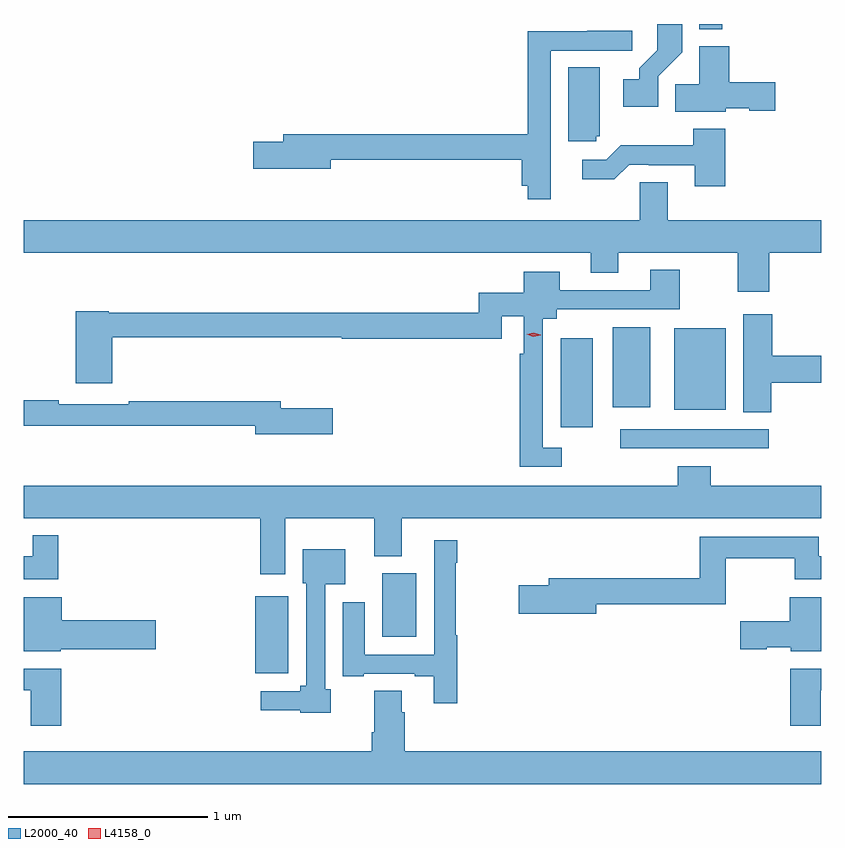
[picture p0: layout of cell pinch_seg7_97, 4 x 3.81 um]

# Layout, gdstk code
import gdstk
lib = gdstk.Library(unit=1e-6, precision=1e-09)
def R(c, l, rs):  # rectangles x0, y0, x1, y1
    for r in rs: c.add(gdstk.rectangle(r[:2], r[2:], *l))
def P(c, l, *ps):  # polygons
    for p in ps: c.add(gdstk.Polygon(p, *l))
L2000_40 = (2000, 40)
L4158_0 = (4158, 0)

pinch_seg7_97 = lib.new_cell('pinch_seg7_97')
R(pinch_seg7_97, L2000_40, [(940.79,1015.823,940.957,1016.209), (941.429,1016.006,941.599,1016.326), (942.621,1016.952,943.366,1017.048), (942.323,1017.057,942.484,1017.505), (942.893,1017.146,943.15,1017.553), (942.584,1017.158,942.772,1017.559), (943.017,1019.054,943.133,1019.08)])
P(pinch_seg7_97, L2000_40, [(942.813,1018.819),(942.932,1018.938),(942.932,1019.08),(942.807,1019.08),(942.807,1018.949),(942.716,1018.859),(942.716,1018.804),(942.636,1018.804),(942.636,1018.664),(942.813,1018.664)],
  [(942.273,1018.947),(942.682,1018.947),(942.682,1019.046),(942.457,1019.046),(942.457,1019.043),(942.157,1019.043),(942.157,1018.526),(940.931,1018.526),(940.931,1018.49),(940.782,1018.49),(940.782,1018.355),(941.17,1018.355),(941.17,1018.398),(942.128,1018.398),(942.128,1018.268),(942.157,1018.268),(942.157,1018.2),(942.273,1018.2)],
  [(943.152,1018.658),(943.269,1018.658),(943.269,1018.646),(943.399,1018.646),(943.399,1018.788),(943.169,1018.788),(943.169,1018.969),(943.019,1018.969),(943.019,1018.778),(942.898,1018.778),(942.898,1018.64),(943.152,1018.64)],
  [(942.501,1018.518),(942.52,1018.518),(942.52,1018.862),(942.362,1018.862),(942.362,1018.491),(942.501,1018.491)],
  [(943.148,1018.555),(942.988,1018.555),(942.988,1018.471),(942.625,1018.471),(942.552,1018.398),(942.432,1018.398),(942.432,1018.301),(942.593,1018.301),(942.666,1018.374),(942.766,1018.374),(942.766,1018.371),(942.995,1018.371),(942.995,1018.266),(943.148,1018.266)],
  [(943.37,1017.932),(943.63,1017.932),(943.63,1018.096),(942.859,1018.096),(942.859,1018.286),(942.72,1018.286),(942.72,1018.096),(939.63,1018.096),(939.63,1017.932),(942.473,1017.932),(942.473,1017.833),(942.613,1017.833),(942.613,1017.932),(943.21,1017.932),(943.21,1017.738),(943.37,1017.738)],
  [(942.328,1016.955),(942.234,1016.955),(942.234,1017.602),(942.304,1017.602),(942.304,1017.648),(942.921,1017.648),(942.921,1017.847),(942.773,1017.847),(942.773,1017.744),(942.319,1017.744),(942.319,1017.838),(942.137,1017.838),(942.137,1017.731),(941.911,1017.731),(941.911,1017.631),(940.056,1017.631),(940.056,1017.639),(939.89,1017.639),(939.89,1017.279),(940.073,1017.279),(940.073,1017.51),(941.224,1017.51),(941.224,1017.502),(942.027,1017.502),(942.027,1017.613),(942.138,1017.613),(942.138,1017.425),(942.118,1017.425),(942.118,1016.859),(942.328,1016.859)],
  [(943.38,1017.28),(943.63,1017.28),(943.63,1017.416),(943.385,1017.416),(943.385,1017.625),(943.238,1017.625),(943.238,1017.133),(943.38,1017.133)],
  [(941.179,1017.153),(940.918,1017.153),(940.918,1017.187),(940.156,1017.187),(940.156,1017.174),(939.806,1017.174),(939.806,1017.194),(939.63,1017.194),(939.63,1017.066),(940.79,1017.066),(940.79,1017.023),(941.179,1017.023)],
  [(940.942,1016.6),(941.387,1016.6),(941.387,1016.411),(941.527,1016.411),(941.527,1016.6),(943.63,1016.6),(943.63,1016.764),(943.076,1016.764),(943.076,1016.863),(942.911,1016.863),(942.911,1016.764),(939.63,1016.764),(939.63,1016.6),(940.817,1016.6),(940.817,1016.319),(940.942,1016.319)],
  [(939.803,1016.515),(939.675,1016.515),(939.675,1016.41),(939.63,1016.41),(939.63,1016.294),(939.803,1016.294)],
  [(942.502,1016.17),(943.15,1016.17),(943.15,1016.4),(943.497,1016.4),(943.497,1016.294),(943.63,1016.294),(943.63,1016.41),(943.618,1016.41),(943.618,1016.508),(943.021,1016.508),(943.021,1016.299),(942.263,1016.299),(942.263,1016.265),(942.114,1016.265),(942.114,1016.123),(942.502,1016.123)],
  [(941.804,1016.014),(941.797,1016.014),(941.797,1016.378),(941.804,1016.378),(941.804,1016.491),(941.688,1016.491),(941.688,1015.917),(941.341,1015.917),(941.341,1016.179),(941.231,1016.179),(941.231,1015.809),(941.335,1015.809),(941.335,1015.821),(941.591,1015.821),(941.591,1015.809),(941.687,1015.809),(941.687,1015.674),(941.804,1015.674)],
  [(941.17,1015.743),(941.142,1015.743),(941.142,1016.27),(941.242,1016.27),(941.242,1016.446),(941.03,1016.446),(941.03,1016.274),(941.046,1016.274),(941.046,1015.762),(941.016,1015.762),(941.016,1015.734),(940.818,1015.734),(940.818,1015.637),(941.016,1015.637),(941.016,1015.625),(941.17,1015.625)],
  [(943.63,1016.204),(943.472,1016.204),(943.472,1016.085),(943.224,1016.085),(943.224,1015.943),(943.356,1015.943),(943.356,1015.955),(943.476,1015.955),(943.476,1015.934),(943.63,1015.934)],
  [(939.816,1015.943),(940.291,1015.943),(940.291,1016.09),(939.82,1016.09),(939.82,1016.204),(939.63,1016.204),(939.63,1015.934),(939.816,1015.934)],
  [(943.627,1015.737),(943.63,1015.737),(943.63,1015.847),(943.475,1015.847),(943.475,1015.56),(943.627,1015.56)],
  [(939.818,1015.846),(939.63,1015.846),(939.63,1015.737),(939.665,1015.737),(939.665,1015.56),(939.818,1015.56)],
  [(943.63,1015.432),(941.54,1015.432),(941.54,1015.628),(941.527,1015.628),(941.527,1015.736),(941.387,1015.736),(941.387,1015.528),(941.375,1015.528),(941.375,1015.432),(939.63,1015.432),(939.63,1015.268),(943.63,1015.268)])
P(pinch_seg7_97, L4158_0, [(942.186,1017.512),(942.152,1017.523),(942.151,1017.523),(942.152,1017.523),(942.187,1017.532),(942.222,1017.521),(942.222,1017.52),(942.222,1017.52)])

lib.write_gds('pinch_seg7_97.gds')
